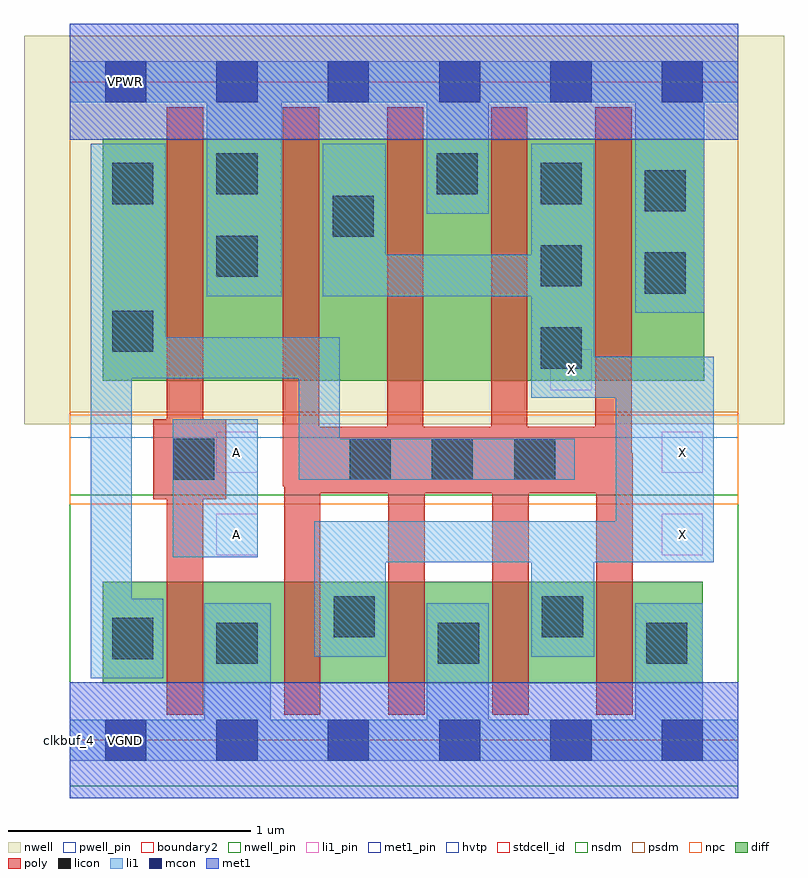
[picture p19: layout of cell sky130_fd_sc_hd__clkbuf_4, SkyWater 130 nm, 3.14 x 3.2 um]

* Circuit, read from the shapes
.subckt sky130_fd_sc_hd__clkbuf_4 A VGND VNB VPB VPWR X
XM1 VGND A n1 VNB sky130_fd_pr__nfet_01v8 w=0.42 l=0.15
XM2 X n1 VGND VNB sky130_fd_pr__nfet_01v8 w=0.42 l=0.15 m=4
XM3 VPWR A n1 VPB sky130_fd_pr__pfet_01v8_hvt w=1 l=0.15
XM4 X n1 VPWR VPB sky130_fd_pr__pfet_01v8_hvt w=1 l=0.15 m=4
.ends

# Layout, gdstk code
import gdstk
lib = gdstk.Library(unit=1e-6, precision=1e-09)
def R(c, l, rs):  # rectangles x0, y0, x1, y1
    for r in rs: c.add(gdstk.rectangle(r[:2], r[2:], *l))
def A(c, l, x, y, w, h, nx, ny, dx, dy):  # array of equal rectangles
    R(c, l, [(x+i*dx, y+j*dy, x+i*dx+w, y+j*dy+h) for i in range(nx) for j in range(ny)])
def P(c, l, *ps):  # polygons
    for p in ps: c.add(gdstk.Polygon(p, *l))
nwell_pin = (64, 16)
nwell = (64, 20)
diff = (65, 20)
poly = (66, 20)
licon = (66, 44)
li1_pin = (67, 16)
li1 = (67, 20)
mcon = (67, 44)
met1_pin = (68, 16)
met1 = (68, 20)
hvtp = (78, 44)
stdcell_id = (81, 4)
nsdm = (93, 44)
psdm = (94, 20)
npc = (95, 20)
pwell_pin = (122, 16)
boundary2 = (236, 0)

sky130_fd_sc_hd__clkbuf_ = lib.new_cell('sky130_fd_sc_hd__clkbuf_4')
R(sky130_fd_sc_hd__clkbuf_, nwell_pin, [(0.145,2.635,0.315,2.805)])
R(sky130_fd_sc_hd__clkbuf_, nwell, [(-0.19,1.305,2.95,2.91)])
R(sky130_fd_sc_hd__clkbuf_, diff, [(0.135,0.235,2.615,0.655), (0.135,1.485,2.62,2.485)])
P(sky130_fd_sc_hd__clkbuf_, poly, [(2.325,1.185),(2.32,1.185),(2.32,2.615),(2.17,2.615),(2.17,1.295),(1.89,1.295),(1.89,2.615),(1.74,2.615),(1.74,1.295),(1.46,1.295),(1.46,2.615),(1.31,2.615),(1.31,1.295),(1.03,1.295),(1.03,2.615),(0.88,2.615),(0.88,1.05),(0.885,1.05),(0.885,0.105),(1.035,0.105),(1.035,1.02),(1.315,1.02),(1.315,0.105),(1.465,0.105),(1.465,1.02),(1.745,1.02),(1.745,0.105),(1.895,0.105),(1.895,1.02),(2.175,1.02),(2.175,0.105),(2.325,0.105)],
  [(0.645,1.325),(0.55,1.325),(0.55,2.615),(0.4,2.615),(0.4,1.325),(0.345,1.325),(0.345,0.995),(0.4,0.995),(0.4,0.105),(0.55,0.105),(0.55,0.995),(0.645,0.995)])
A(sky130_fd_sc_hd__clkbuf_, licon, 1.155, 1.075, 0.17, 0.17, 3, 1, 0.34, 0)
A(sky130_fd_sc_hd__clkbuf_, licon, 1.945, 1.535, 0.17, 0.17, 1, 3, 0, 0.34)
R(sky130_fd_sc_hd__clkbuf_, licon, [(0.605,0.315,0.775,0.485), (1.52,0.315,1.69,0.485), (2.38,0.315,2.55,0.485), (0.175,0.335,0.345,0.505), (1.09,0.425,1.26,0.595), (1.95,0.425,2.12,0.595), (0.425,1.075,0.595,1.245), (0.175,1.605,0.345,1.775), (2.375,1.845,2.545,2.015), (0.605,1.915,0.775,2.085), (1.085,2.08,1.255,2.25), (2.375,2.185,2.545,2.355), (0.175,2.215,0.345,2.385), (0.605,2.255,0.775,2.425), (1.515,2.255,1.685,2.425)])
R(sky130_fd_sc_hd__clkbuf_, li1_pin, [(0.605,0.765,0.775,0.935), (2.445,0.765,2.615,0.935), (0.605,1.105,0.775,1.275), (2.445,1.105,2.615,1.275), (1.985,1.445,2.155,1.615)])
R(sky130_fd_sc_hd__clkbuf_, li1, [(0.425,0.755,0.775,1.325)])
P(sky130_fd_sc_hd__clkbuf_, li1, [(2.76,0.085),(2.615,0.085),(2.615,0.565),(2.335,0.565),(2.335,0.085),(1.73,0.085),(1.73,0.565),(1.475,0.565),(1.475,0.085),(0.83,0.085),(0.83,0.565),(0.555,0.565),(0.555,0.085),(0,0.085),(0,-0.085),(2.76,-0.085)],
  [(2.66,1.585),(2.165,1.585),(2.165,2.465),(1.905,2.465),(1.905,2.005),(1.305,2.005),(1.305,2.465),(1.045,2.465),(1.045,1.835),(1.905,1.835),(1.905,1.415),(2.255,1.415),(2.255,0.905),(1.01,0.905),(1.01,0.345),(1.305,0.345),(1.305,0.735),(1.905,0.735),(1.905,0.345),(2.165,0.345),(2.165,0.735),(2.66,0.735)],
  [(2.085,1.245),(1.115,1.245),(1.115,1.665),(0.395,1.665),(0.395,2.465),(0.085,2.465),(0.085,0.255),(0.385,0.255),(0.385,0.585),(0.255,0.585),(0.255,1.495),(0.945,1.495),(0.945,1.075),(2.085,1.075)],
  [(2.76,2.805),(0,2.805),(0,2.635),(0.565,2.635),(0.565,1.835),(0.875,1.835),(0.875,2.635),(1.475,2.635),(1.475,2.175),(1.73,2.175),(1.73,2.635),(2.335,2.635),(2.335,1.765),(2.62,1.765),(2.62,2.635),(2.76,2.635)])
A(sky130_fd_sc_hd__clkbuf_, mcon, 0.145, -0.085, 0.17, 0.17, 6, 2, 0.46, 2.72)
R(sky130_fd_sc_hd__clkbuf_, met1_pin, [(0.145,-0.085,0.315,0.085), (0.145,2.635,0.315,2.805)])
R(sky130_fd_sc_hd__clkbuf_, hvtp, [(0,1.25,2.76,2.72)])
R(sky130_fd_sc_hd__clkbuf_, stdcell_id, [(0,0,2.76,2.72)])
R(sky130_fd_sc_hd__clkbuf_, nsdm, [(0,-0.19,2.76,1.015)])
R(sky130_fd_sc_hd__clkbuf_, psdm, [(0,1.355,2.76,2.91)])
R(sky130_fd_sc_hd__clkbuf_, npc, [(0,0.975,2.76,1.345)])
R(sky130_fd_sc_hd__clkbuf_, pwell_pin, [(0.145,-0.085,0.315,0.085)])
R(sky130_fd_sc_hd__clkbuf_, boundary2, [(0,0,2.76,2.72)])
sky130_fd_sc_hd__clkbuf_.add(gdstk.FlexPath([(0,0),(2.76,0)], 0.48, ends="flush", simple_path=True, layer=68, datatype=20))  # met1
sky130_fd_sc_hd__clkbuf_.add(gdstk.FlexPath([(0,2.72),(2.76,2.72)], 0.48, ends="flush", simple_path=True, layer=68, datatype=20))  # met1
sky130_fd_sc_hd__clkbuf_.add(gdstk.Label('X', (2.07,1.53), layer=67, texttype=5))
sky130_fd_sc_hd__clkbuf_.add(gdstk.Label('A', (0.69,0.85), layer=67, texttype=5))
sky130_fd_sc_hd__clkbuf_.add(gdstk.Label('X', (2.53,0.85), layer=67, texttype=5))
sky130_fd_sc_hd__clkbuf_.add(gdstk.Label('A', (0.69,1.19), layer=67, texttype=5))
sky130_fd_sc_hd__clkbuf_.add(gdstk.Label('X', (2.53,1.19), layer=67, texttype=5))
sky130_fd_sc_hd__clkbuf_.add(gdstk.Label('VGND', (0.23,0), layer=68, texttype=5))
sky130_fd_sc_hd__clkbuf_.add(gdstk.Label('VPWR', (0.23,2.72), layer=68, texttype=5))
sky130_fd_sc_hd__clkbuf_.add(gdstk.Label('VPB', (0.23,2.72), layer=64, texttype=5))
sky130_fd_sc_hd__clkbuf_.add(gdstk.Label('VNB', (0.23,0), layer=64, texttype=59))
sky130_fd_sc_hd__clkbuf_.add(gdstk.Label('clkbuf_4', (0,0), layer=83, texttype=44))

lib.write_gds('sky130_fd_sc_hd__clkbuf_4.gds')
